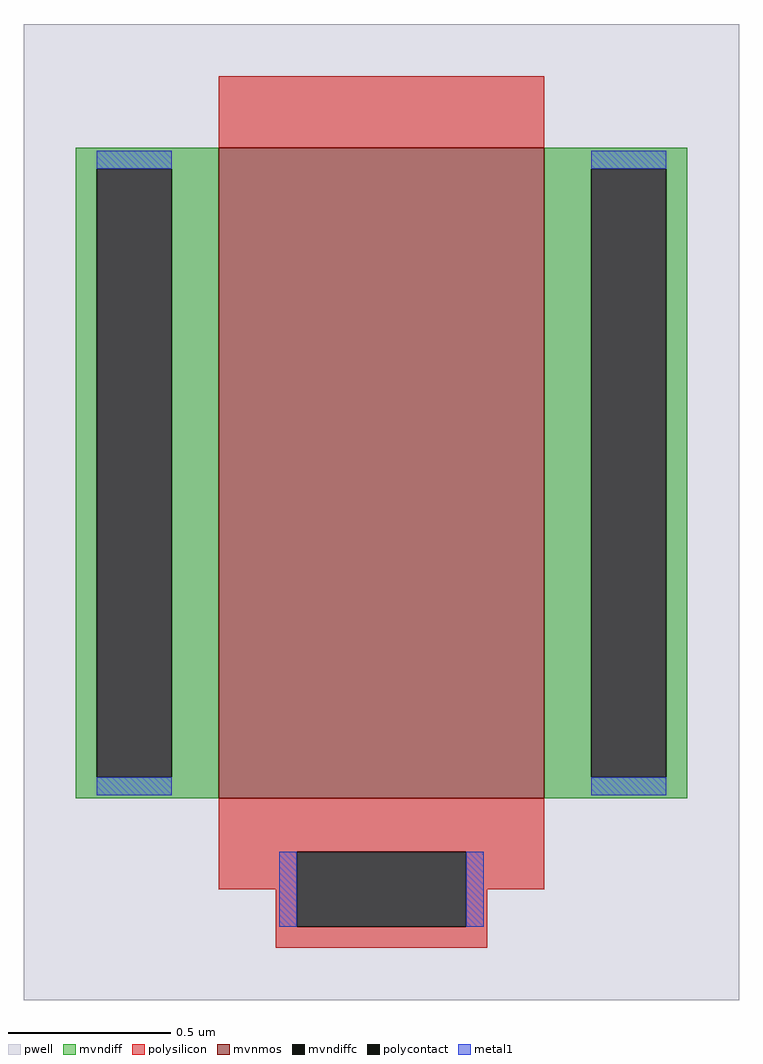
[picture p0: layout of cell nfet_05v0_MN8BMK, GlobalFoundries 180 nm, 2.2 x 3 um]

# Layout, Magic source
magic
tech gf180mcuD
magscale 1 10
<< pwell >>
rect -220 -300 220 300
<< mvnmos >>
rect -100 -176 100 224
<< mvndiff >>
rect -188 211 -100 224
rect -188 -163 -175 211
rect -129 -163 -100 211
rect -188 -176 -100 -163
rect 100 211 188 224
rect 100 -163 129 211
rect 175 -163 188 211
rect 100 -176 188 -163
<< mvndiffc >>
rect -175 -163 -129 211
rect 129 -163 175 211
<< polysilicon >>
rect -100 224 100 268
rect -100 -209 100 -176
rect -100 -232 -52 -209
rect -65 -255 -52 -232
rect 52 -232 100 -209
rect 52 -255 65 -232
rect -65 -268 65 -255
<< polycontact >>
rect -52 -255 52 -209
<< metal1 >>
rect -175 211 -129 222
rect -175 -174 -129 -163
rect 129 211 175 222
rect 129 -174 175 -163
rect -63 -255 -52 -209
rect 52 -255 63 -209
<< properties >>
string gencell nfet_05v0
string library gf180mcu
string parameters w 2 l 1 m 1 nf 1 diffcov 100 polycov 60 guard 0 glc 1 grc 1 gtc 0 gbc 0 tbcov 100 rlcov 100 topc 0 botc 1 poverlap 0 doverlap 1 lmin 0.7 wmin 0.3 class mosfet full_metal 1 compatible {nfet_03v3 nfet_05v0 nfet_06v0 nfet_06v0_nvt}
<< end >>
